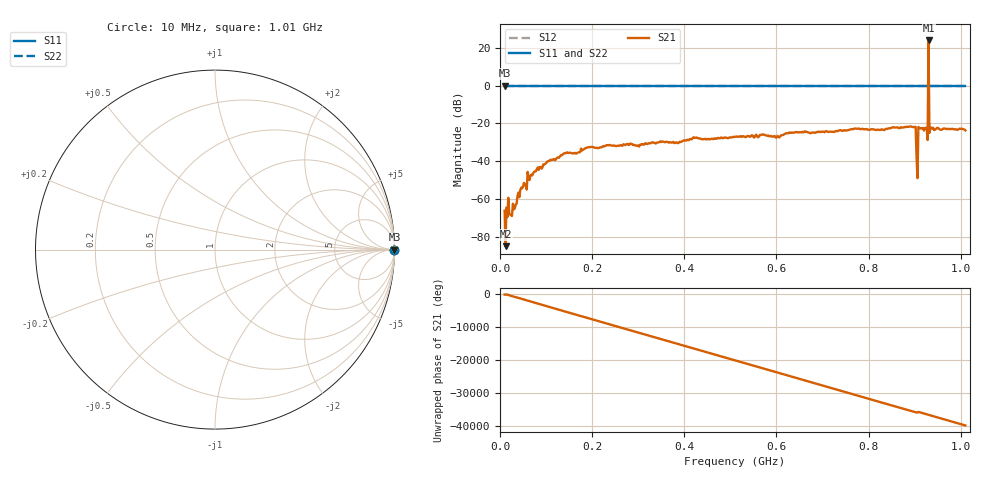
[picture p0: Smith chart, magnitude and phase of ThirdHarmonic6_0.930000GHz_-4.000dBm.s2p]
! 8/16/2025 6:18:57 AM
! C:\ANRITSUVNA\TEMP\TEMP.S2P
! CHANNEL.1
! TR.MEASUREMENT
! RAW.DATA
! RF.CORRECTION.OFF
! AVERAGING.OFF
! IF.BANDWIDTH: 5KHZ
! SWEEPTYPE:  FREQ.SWEEP(Linear)
! Reference Plane Port Info
! PORT:  PORT1  PORT2
! DISTANCE:  0  m  0  m
! TIME:  0  s  0  s
! PHASE.OFFSET:  0  deg.  0  deg.
! LOSS:  0  dB  0  dB
! REF.LOSS:  0  dB  0  dB
! REF.FREQ:  0  Hz  0  Hz
! Power Info
! POWER:  -20  dBm  -20  dBm
! EFF.POWER:  -20  dBm  -20  dBm
! SOURCE.ATTEN:  0  dB  0  dB
! TEST.ATTEN:  0  dB  0  dB
# GHZ S RI R 50.0
! FREQ.GHZ  S11RE  S11IM  S21RE  S21IM  S12RE  S12IM  S22RE  S22IM
!; PortSelection: Port_12
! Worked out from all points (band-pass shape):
!   501 points, 10 MHz to 1.01 GHz, reference 50 ohm
!   highest |S21| = 23.73 dB at 930 MHz (marker M1); lowest = -84.6 dB at 12 MHz (marker M2)
!   |S21| within 3 dB of the highest: 929.8855 MHz to 930.1233 MHz (237.7 kHz wide, 0.0256 % of centre)
!   lowest |S11| = 0.0 dB at 10 MHz (marker M3)
!   |S11| at or under -10 dB: nowhere
!   |S22| runs from 0.0 to 0.0 dB; largest |S21 - S12| = 16
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0.01  1 0  0.000483 -0.00015  1 0  1 0
0.012  1 0  3.08e-05 -5.02e-05  1 0  1 0
0.018  1 0  -0.000755 -0.000807  1 0  1 0
0.028  1 0  -0.000762 0.000114  1 0  1 0
0.048  1 0  0.000698 0.00183  1 0  1 0
0.078  1 0  0.00145 -0.0054  1 0  1 0
0.142  1 0  -0.0151 -0.00661  1 0  1 0
0.178  1 0  -0.0187 -0.00533  1 0  1 0
0.344  1 0  0.0313 -0.00391  1 0  1 0
0.51  1 0  -0.0437 0.00948  1 0  1 0
0.678  1 0  -0.0137 -0.0561  1 0  1 0
0.844  1 0  0.0406 0.0628  1 0  1 0
0.898  1 0  0.0667 0.045  1 0  1 0
0.902  1 0  -0.0492 -0.0653  1 0  1 0
0.908  1 0  0.0802 -0.01  1 0  1 0
0.912  1 0  -0.0743 -0.00924  1 0  1 0
0.924  1 0  0.028 0.0714  1 0  1 0
0.926  1 0  0.0752 -0.0159  1 0  1 0
0.93  1 0  -13.77 6.788  1 0  1 0
0.934  1 0  0.0702 0.0292  1 0  1 0
0.936  1 0  0.0383 -0.0679  1 0  1 0
1.01  1 0  -0.0612 -0.0243  1 0  1 0
